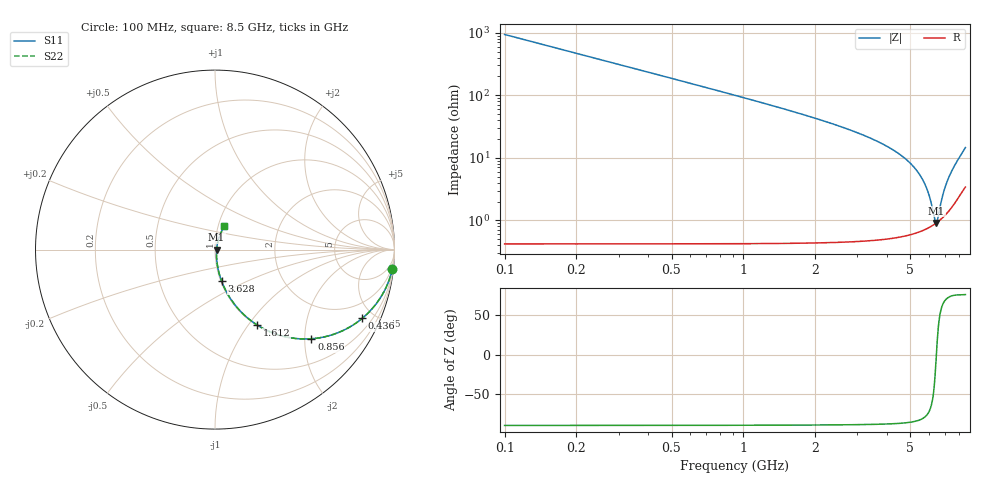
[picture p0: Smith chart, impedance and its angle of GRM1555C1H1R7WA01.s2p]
!Murata Part Number: GRM1555C1H1R7WA01
!These Parameters are Measured in Series Mode Connection
!Data Generated on Mar 30, 2021
!  o--ll--o
!Port1  Port2
!  o------o
!Operation Temp=25[degC], DC Bias Voltage=0[V]
!Freq. Start=100[MHz] Stop=9[GHz] 401[Steps]
# Hz S RI R 50
!Freq.(Hz) S11(Real) S11(Imag) S21(Real) S21(Imag) S12(Real) S12(Imag) S22(Real) S22(Imag)
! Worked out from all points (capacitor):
!   401 points, 100 MHz to 8.5 GHz, reference 50 ohm
!   read as one part in series: C = 1.7 pF near 142 MHz
!   lowest |Z| = 909 mohm at 6.421 GHz (marker M1)
!   series resonance near 6.426 GHz, so ESL is about 360 pH
!   S11 on the Smith chart (normalised r, x): 100 MHz: 1, -19; 436 MHz: 1.01, -4.28; 856 MHz: 1.01, -2.15; 1.612 GHz: 1.01, -1.10; 3.628 GHz: 1.01, -0.37; 8.5 GHz: 1.07, +0.28
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1e8  0.9887 -0.1056  0.0113 0.1056  0.0113 0.1056  0.9887 -0.1056
2.47e8  0.9345 -0.2468  0.0655 0.2468  0.0655 0.2468  0.9345 -0.2468
4.36e8  0.8201 -0.3831  0.1799 0.3831  0.1799 0.3831  0.8201 -0.3831
6.25e8  0.6877 -0.462  0.3123 0.462  0.3123 0.462  0.6877 -0.462
8.56e8  0.5368 -0.4967  0.4632 0.4967  0.4632 0.4967  0.5368 -0.4967
1.171e9  0.3767 -0.4818  0.6233 0.4818  0.6233 0.4818  0.3767 -0.4818
1.507e9  0.2606 -0.4353  0.7394 0.4353  0.7394 0.4353  0.2606 -0.4353
1.612e9  0.2332 -0.419  0.7668 0.419  0.7668 0.419  0.2332 -0.419
2.179e9  0.1325 -0.3334  0.8675 0.3334  0.8675 0.3334  0.1325 -0.3334
2.914e9  0.0682 -0.2435  0.9318 0.2435  0.9318 0.2435  0.0682 -0.2435
3.628e9  0.0371 -0.1763  0.9629 0.1763  0.9629 0.1763  0.0371 -0.1763
4.3e9  0.0212 -0.1253  0.9788 0.1253  0.9788 0.1253  0.0212 -0.1253
5.14e9  0.0112 -0.0716  0.9888 0.0716  0.9888 0.0716  0.0112 -0.0716
5.707e9  0.00851 -0.0392  0.9915 0.0392  0.9915 0.0392  0.00851 -0.0392
6.001e9  0.00819 -0.023  0.9918 0.023  0.9918 0.023  0.00819 -0.023
6.337e9  0.00871 -0.0048  0.9913 0.0048  0.9913 0.0048  0.00871 -0.0048
6.421e9  0.009 -0.000254  0.991 0.000254  0.991 0.000254  0.009 -0.000254
6.505e9  0.00936 0.0043  0.9906 -0.0043  0.9906 -0.0043  0.00936 0.0043
6.82e9  0.0113 0.0215  0.9887 -0.0215  0.9887 -0.0215  0.0113 0.0215
7.114e9  0.0143 0.0378  0.9857 -0.0378  0.9857 -0.0378  0.0143 0.0378
7.66e9  0.0233 0.0699  0.9767 -0.0699  0.9767 -0.0699  0.0233 0.0699
8.5e9  0.0507 0.1301  0.9493 -0.1301  0.9493 -0.1301  0.0507 0.1301
